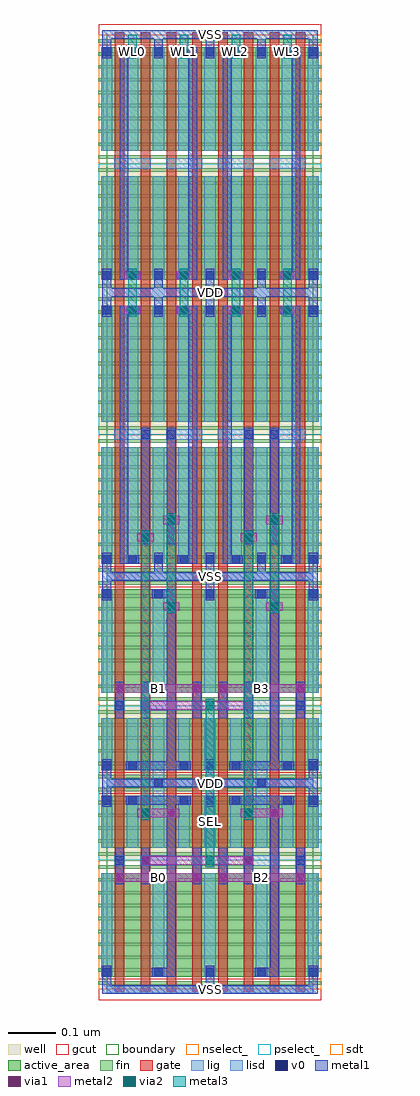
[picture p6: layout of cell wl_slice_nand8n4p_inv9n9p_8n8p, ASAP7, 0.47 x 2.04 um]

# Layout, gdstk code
from math import pi, radians
import gdstk
lib = gdstk.Library(unit=1e-6, precision=1e-10)
def R(c, l, rs):  # rectangles x0, y0, x1, y1
    for r in rs: c.add(gdstk.rectangle(r[:2], r[2:], *l))
def A(c, l, x, y, w, h, nx, ny, dx, dy):  # array of equal rectangles
    R(c, l, [(x+i*dx, y+j*dy, x+i*dx+w, y+j*dy+h) for i in range(nx) for j in range(ny)])
well = (1, 0)
fin = (2, 0)
gate = (7, 0)
gcut = (10, 0)
active_area = (11, 0)
nselect_ = (12, 0)
pselect_ = (13, 0)
lig = (16, 0)
lisd = (17, 0)
v0 = (18, 0)
metal1 = (19, 0)
metal2 = (20, 0)
via1 = (21, 0)
via2 = (25, 0)
metal3 = (30, 0)
sdt = (88, 0)
boundary = (100, 0)

wl_slice_nand8n4p_inv9n9 = lib.new_cell('wl_slice_nand8n4p_inv9n9p_8n8p__nand')
R(wl_slice_nand8n4p_inv9n9, well, [(-0.017,0.27,0.233,0.432)])
A(wl_slice_nand8n4p_inv9n9, fin, -0.018, 0.01, 0.252, 0.007, 1, 16, 0, 0.027)
A(wl_slice_nand8n4p_inv9n9, gate, 0.017, -0.005, 0.02, 0.442, 4, 1, 0.054, 0)
R(wl_slice_nand8n4p_inv9n9, gcut, [(-0.017,-0.022,0.233,0.022), (-0.017,0.41,0.233,0.454)])
R(wl_slice_nand8n4p_inv9n9, active_area, [(-0.008,0.027,0.224,0.243), (-0.008,0.297,0.224,0.405)])
R(wl_slice_nand8n4p_inv9n9, nselect_, [(-0.017,0,0.233,0.27)])
R(wl_slice_nand8n4p_inv9n9, pselect_, [(-0.017,0.27,0.233,0.432)])
R(wl_slice_nand8n4p_inv9n9, lig, [(0,-0.008,0.216,0.008), (0.016,0.259,0.038,0.281), (0.07,0.259,0.146,0.281), (0.178,0.259,0.2,0.281), (0,0.424,0.216,0.44)])
A(wl_slice_nand8n4p_inv9n9, lisd, -0.012, 0.027, 0.024, 0.216, 3, 1, 0.108, 0)
A(wl_slice_nand8n4p_inv9n9, lisd, -0.012, 0.297, 0.024, 0.108, 5, 1, 0.054, 0)
R(wl_slice_nand8n4p_inv9n9, lisd, [(0.096,0.297,0.12,0.432)])
A(wl_slice_nand8n4p_inv9n9, v0, -0.009, 0.027, 0.018, 0.018, 3, 1, 0.108, 0)
R(wl_slice_nand8n4p_inv9n9, v0, [(0.018,0.261,0.036,0.279), (0.072,0.261,0.09,0.279), (0.18,0.261,0.198,0.279), (-0.009,0.387,0.009,0.405), (0.045,0.387,0.063,0.405), (0.153,0.387,0.171,0.405), (0.207,0.387,0.225,0.405), (0.099,0.423,0.117,0.441)])
R(wl_slice_nand8n4p_inv9n9, metal1, [(-0.009,-0.009,0.009,0.05), (0,-0.009,0.216,0.009), (0.207,-0.009,0.225,0.05), (0.094,0.027,0.144,0.045), (0.126,0.027,0.144,0.405), (0.018,0.22,0.036,0.297), (0.072,0.22,0.09,0.297), (0.18,0.22,0.198,0.297), (-0.009,0.382,0.009,0.441), (0.207,0.382,0.225,0.441), (0.04,0.387,0.176,0.405), (0,0.423,0.216,0.441)])
R(wl_slice_nand8n4p_inv9n9, metal2, [(0.018,0.225,0.198,0.243)])
R(wl_slice_nand8n4p_inv9n9, via1, [(0.018,0.225,0.036,0.243), (0.18,0.225,0.198,0.243)])
A(wl_slice_nand8n4p_inv9n9, sdt, -0.012, 0.027, 0.024, 0.216, 3, 1, 0.108, 0)
A(wl_slice_nand8n4p_inv9n9, sdt, -0.012, 0.297, 0.024, 0.108, 5, 1, 0.054, 0)
R(wl_slice_nand8n4p_inv9n9, boundary, [(0,0,0.216,0.432)])

c_wl_slice_nand8n4p_inv9n9 = lib.new_cell('wl_slice_nand8n4p_inv9n9p_8n8p__inv')
R(c_wl_slice_nand8n4p_inv9n9, well, [(-0.017,0.297,0.179,0.594), (-0.017,0.594,0.179,0.864)])
A(c_wl_slice_nand8n4p_inv9n9, fin, -0.018, 0.01, 0.198, 0.007, 1, 42, 0, 0.027)
A(c_wl_slice_nand8n4p_inv9n9, gate, 0.017, -0.005, 0.02, 1.144, 3, 1, 0.054, 0)
R(c_wl_slice_nand8n4p_inv9n9, gcut, [(-0.017,-0.022,0.179,0.022), (-0.017,1.112,0.179,1.156)])
R(c_wl_slice_nand8n4p_inv9n9, active_area, [(-0.008,0.027,0.17,0.27), (-0.008,0.324,0.17,0.567), (-0.008,0.621,0.17,0.837), (-0.008,0.891,0.17,1.107)])
R(c_wl_slice_nand8n4p_inv9n9, nselect_, [(-0.017,0,0.179,0.297), (-0.017,0.864,0.179,1.134)])
R(c_wl_slice_nand8n4p_inv9n9, pselect_, [(-0.017,0.297,0.179,0.594), (-0.017,0.594,0.179,0.864)])
R(c_wl_slice_nand8n4p_inv9n9, lig, [(0.016,0.286,0.092,0.308), (0.016,0.853,0.092,0.875)])
A(c_wl_slice_nand8n4p_inv9n9, lisd, -0.012, 0.027, 0.024, 0.243, 3, 2, 0.054, 0.297)
A(c_wl_slice_nand8n4p_inv9n9, lisd, -0.012, 0.621, 0.024, 0.216, 3, 2, 0.054, 0.27)
A(c_wl_slice_nand8n4p_inv9n9, v0, -0.009, 0.027, 0.018, 0.018, 3, 2, 0.054, 0.522)
A(c_wl_slice_nand8n4p_inv9n9, v0, -0.009, 0.621, 0.018, 0.018, 3, 2, 0.054, 0.468)
R(c_wl_slice_nand8n4p_inv9n9, v0, [(0.072,0.288,0.09,0.306)])
R(c_wl_slice_nand8n4p_inv9n9, metal1, [(-0.009,-0.009,0.009,0.05), (0,-0.009,0.162,0.009), (0.099,-0.009,0.117,0.05), (0.027,0.027,0.045,0.567), (0.027,0.027,0.068,0.045), (0.072,0.068,0.09,0.311), (-0.009,0.544,0.009,0.603), (0.099,0.544,0.117,0.603), (0.027,0.549,0.068,0.567), (-0.009,0.585,0.009,0.644), (0,0.585,0.162,0.603), (0.099,0.585,0.117,0.644), (0.027,0.621,0.068,0.639), (0.027,0.621,0.045,1.107), (-0.009,1.084,0.009,1.143), (0.099,1.084,0.117,1.143), (0.027,1.089,0.068,1.107), (0,1.125,0.162,1.143)])
R(c_wl_slice_nand8n4p_inv9n9, metal2, [(0.037,0.549,0.071,0.567), (0.037,0.621,0.071,0.639)])
R(c_wl_slice_nand8n4p_inv9n9, via1, [(0.045,0.549,0.063,0.567), (0.045,0.621,0.063,0.639)])
R(c_wl_slice_nand8n4p_inv9n9, via2, [(0.045,0.549,0.063,0.567), (0.045,0.621,0.063,0.639)])
R(c_wl_slice_nand8n4p_inv9n9, metal3, [(0.045,0.544,0.063,0.644)])
A(c_wl_slice_nand8n4p_inv9n9, sdt, -0.012, 0.027, 0.024, 0.243, 3, 2, 0.054, 0.297)
A(c_wl_slice_nand8n4p_inv9n9, sdt, -0.012, 0.621, 0.024, 0.216, 3, 2, 0.054, 0.27)
R(c_wl_slice_nand8n4p_inv9n9, boundary, [(0,0,0.162,0.594), (0,0.594,0.162,1.134)])

c_wl_slice_nand8n4p_inv9n9_ = lib.new_cell('wl_slice_nand8n4p_inv9n9p_8n8p')
A(c_wl_slice_nand8n4p_inv9n9_, metal2, 0.037, 1.953, 0.034, 0.018, 4, 1, 0.108, 0)
R(c_wl_slice_nand8n4p_inv9n9_, metal2, [(0.072,0.261,0.306,0.279), (0.064,0.36,0.152,0.378), (0.28,0.36,0.368,0.378), (0.072,0.585,0.306,0.603), (0.118,0.792,0.152,0.81), (0.334,0.792,0.368,0.81), (0.064,0.937,0.098,0.955), (0.28,0.937,0.314,0.955), (0.118,0.973,0.152,0.991), (0.334,0.973,0.368,0.991)])
A(c_wl_slice_nand8n4p_inv9n9_, via1, 0.045, 1.953, 0.018, 0.018, 4, 1, 0.108, 0)
R(c_wl_slice_nand8n4p_inv9n9_, via1, [(0.072,0.261,0.09,0.279), (0.288,0.261,0.306,0.279), (0.126,0.36,0.144,0.378), (0.342,0.36,0.36,0.378), (0.072,0.585,0.09,0.603), (0.288,0.585,0.306,0.603), (0.126,0.792,0.144,0.81), (0.342,0.792,0.36,0.81), (0.072,0.937,0.09,0.955), (0.288,0.937,0.306,0.955), (0.126,0.973,0.144,0.991), (0.342,0.973,0.36,0.991)])
A(c_wl_slice_nand8n4p_inv9n9_, via2, 0.045, 1.953, 0.018, 0.018, 4, 1, 0.108, 0)
R(c_wl_slice_nand8n4p_inv9n9_, via2, [(0.207,0.261,0.225,0.279), (0.072,0.36,0.09,0.378), (0.288,0.36,0.306,0.378), (0.207,0.585,0.225,0.603), (0.126,0.792,0.144,0.81), (0.342,0.792,0.36,0.81), (0.072,0.937,0.09,0.955), (0.288,0.937,0.306,0.955), (0.126,0.973,0.144,0.991), (0.342,0.973,0.36,0.991)])
A(c_wl_slice_nand8n4p_inv9n9_, metal3, 0.045, 1.948, 0.018, 0.05, 4, 1, 0.108, 0)
R(c_wl_slice_nand8n4p_inv9n9_, metal3, [(0.207,0.256,0.225,0.608), (0.072,0.355,0.09,0.96), (0.288,0.355,0.306,0.96), (0.126,0.787,0.144,0.996), (0.342,0.787,0.36,0.996)])
R(c_wl_slice_nand8n4p_inv9n9_, boundary, [(0,0,0.432,1.998)])
c_wl_slice_nand8n4p_inv9n9_.add(gdstk.Reference(wl_slice_nand8n4p_inv9n9, (0,0)))
c_wl_slice_nand8n4p_inv9n9_.add(gdstk.Reference(wl_slice_nand8n4p_inv9n9, (0,0.864), x_reflection=True))
c_wl_slice_nand8n4p_inv9n9_.add(gdstk.Reference(wl_slice_nand8n4p_inv9n9, (0.216,0)))
c_wl_slice_nand8n4p_inv9n9_.add(gdstk.Reference(wl_slice_nand8n4p_inv9n9, (0.216,0.864), x_reflection=True))
c_wl_slice_nand8n4p_inv9n9_.add(gdstk.Reference(c_wl_slice_nand8n4p_inv9n9, (0,0.864)))
c_wl_slice_nand8n4p_inv9n9_.add(gdstk.Reference(c_wl_slice_nand8n4p_inv9n9, (0.216,0.864), rotation=pi, x_reflection=True))
c_wl_slice_nand8n4p_inv9n9_.add(gdstk.Reference(c_wl_slice_nand8n4p_inv9n9, (0.216,0.864)))
c_wl_slice_nand8n4p_inv9n9_.add(gdstk.Reference(c_wl_slice_nand8n4p_inv9n9, (0.432,0.864), rotation=pi, x_reflection=True))
c_wl_slice_nand8n4p_inv9n9_.add(gdstk.Label('SEL', (0.216,0.351), layer=30, texttype=251))
c_wl_slice_nand8n4p_inv9n9_.add(gdstk.Label('B0', (0.108,0.234), layer=20, texttype=251))
c_wl_slice_nand8n4p_inv9n9_.add(gdstk.Label('B1', (0.108,0.63), layer=20, texttype=251))
c_wl_slice_nand8n4p_inv9n9_.add(gdstk.Label('B2', (0.324,0.234), layer=20, texttype=251))
c_wl_slice_nand8n4p_inv9n9_.add(gdstk.Label('B3', (0.324,0.63), layer=20, texttype=251))
c_wl_slice_nand8n4p_inv9n9_.add(gdstk.Label('WL0', (0.054,1.962), layer=30, texttype=251))
c_wl_slice_nand8n4p_inv9n9_.add(gdstk.Label('WL1', (0.162,1.962), layer=30, texttype=251))
c_wl_slice_nand8n4p_inv9n9_.add(gdstk.Label('WL2', (0.27,1.962), layer=30, texttype=251))
c_wl_slice_nand8n4p_inv9n9_.add(gdstk.Label('WL3', (0.378,1.962), layer=30, texttype=251))
c_wl_slice_nand8n4p_inv9n9_.add(gdstk.Label('VSS', (0.216,0), layer=19, texttype=251))
c_wl_slice_nand8n4p_inv9n9_.add(gdstk.Label('VDD', (0.216,0.432), layer=19, texttype=251))
c_wl_slice_nand8n4p_inv9n9_.add(gdstk.Label('VSS', (0.216,0.864), layer=19, texttype=251))
c_wl_slice_nand8n4p_inv9n9_.add(gdstk.Label('VDD', (0.216,1.458), layer=19, texttype=251))
c_wl_slice_nand8n4p_inv9n9_.add(gdstk.Label('VSS', (0.216,1.998), layer=19, texttype=251))

lib.write_gds('wl_slice_nand8n4p_inv9n9p_8n8p.gds')
